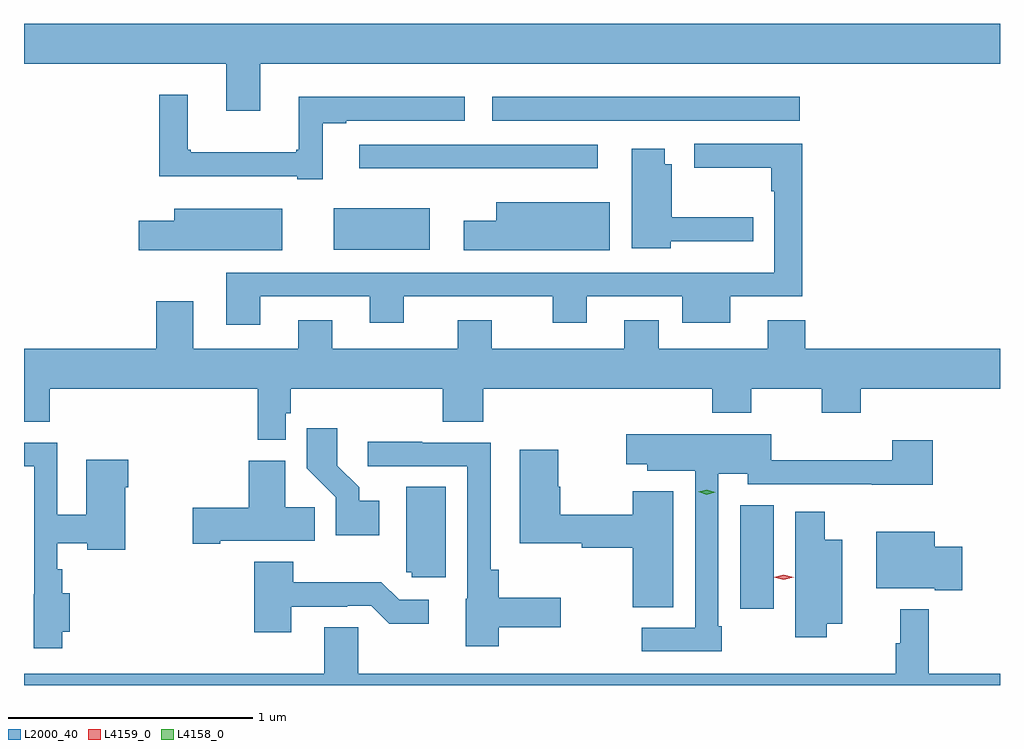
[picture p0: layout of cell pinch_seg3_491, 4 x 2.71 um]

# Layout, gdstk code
import gdstk
lib = gdstk.Library(unit=1e-6, precision=1e-09)
def R(c, l, rs):  # rectangles x0, y0, x1, y1
    for r in rs: c.add(gdstk.rectangle(r[:2], r[2:], *l))
def P(c, l, *ps):  # polygons
    for p in ps: c.add(gdstk.Polygon(p, *l))
L2000_40 = (2000, 40)
L4158_0 = (4158, 0)
L4159_0 = (4159, 0)

pinch_seg3_491 = lib.new_cell('pinch_seg3_491')
R(pinch_seg3_491, L2000_40, [(988.979,666.714,989.116,667.139), (987.314,668.186,987.706,668.356), (987.417,668.519,988.396,668.616), (987.963,668.715,989.224,668.812)])
P(pinch_seg3_491, L2000_40, [(987.013,668.948),(990.044,668.948),(990.044,669.112),(986.044,669.112),(986.044,668.948),(986.873,668.948),(986.873,668.754),(987.013,668.754)],
  [(987.268,668.703),(987.364,668.703),(987.364,668.715),(987.85,668.715),(987.85,668.812),(987.17,668.812),(987.17,668.596),(987.159,668.596),(987.159,668.584),(986.728,668.584),(986.728,668.596),(986.716,668.596),(986.716,668.821),(986.599,668.821),(986.599,668.486),(987.164,668.486),(987.164,668.475),(987.268,668.475)],
  [(987.013,667.995),(987.461,667.995),(987.461,667.886),(987.601,667.886),(987.601,667.995),(988.211,667.995),(988.211,667.886),(988.351,667.886),(988.351,667.995),(988.742,667.995),(988.742,667.886),(988.939,667.886),(988.939,667.995),(989.234,667.995),(989.234,668.619),(988.791,668.619),(988.791,668.522),(989.106,668.522),(989.106,668.426),(989.118,668.426),(989.118,668.091),(986.873,668.091),(986.873,667.878),(987.013,667.878)],
  [(988.695,668.22),(989.033,668.22),(989.033,668.318),(988.699,668.318),(988.699,668.536),(988.669,668.536),(988.669,668.599),(988.535,668.599),(988.535,668.192),(988.695,668.192)],
  [(988.444,668.38),(987.98,668.38),(987.98,668.305),(987.846,668.305),(987.846,668.183),(988.444,668.183)],
  [(987.103,668.353),(986.66,668.353),(986.66,668.305),(986.514,668.305),(986.514,668.183),(987.103,668.183)],
  [(987.117,667.515),(987.137,667.515),(987.137,667.616),(987.761,667.616),(987.761,667.48),(987.926,667.48),(987.926,667.616),(988.865,667.616),(988.865,667.517),(989.025,667.517),(989.025,667.616),(989.314,667.616),(989.314,667.517),(989.474,667.517),(989.474,667.616),(990.044,667.616),(990.044,667.78),(989.246,667.78),(989.246,667.897),(989.093,667.897),(989.093,667.78),(988.645,667.78),(988.645,667.897),(988.505,667.897),(988.505,667.78),(987.961,667.78),(987.961,667.897),(987.821,667.897),(987.821,667.78),(987.307,667.78),(987.307,667.897),(987.167,667.897),(987.167,667.78),(986.737,667.78),(986.737,667.975),(986.585,667.975),(986.585,667.78),(986.044,667.78),(986.044,667.48),(986.15,667.48),(986.15,667.616),(987.001,667.616),(987.001,667.406),(987.117,667.406)],
  [(987.499,667.156),(987.418,667.156),(987.418,667.211),(987.328,667.301),(987.328,667.453),(987.202,667.453),(987.202,667.29),(987.321,667.171),(987.321,667.016),(987.499,667.016)],
  [(988.903,666.643),(988.89,666.643),(988.89,667.268),(989.01,667.268),(989.01,667.224),(989.519,667.224),(989.519,667.223),(989.768,667.223),(989.768,667.405),(989.603,667.405),(989.603,667.322),(989.106,667.322),(989.106,667.429),(988.512,667.429),(988.512,667.307),(988.599,667.307),(988.599,667.28),(988.794,667.28),(988.794,666.636),(988.575,666.636),(988.575,666.54),(988.903,666.54)],
  [(987.99,666.638),(988.243,666.638),(988.243,666.76),(987.99,666.76),(987.99,666.874),(987.957,666.874),(987.957,667.395),(987.677,667.395),(987.677,667.398),(987.453,667.398),(987.453,667.299),(987.861,667.299),(987.861,666.756),(987.854,666.756),(987.854,666.56),(987.99,666.56)],
  [(986.201,666.62),(986.231,666.62),(986.231,666.778),(986.201,666.778),(986.201,666.875),(986.181,666.875),(986.181,666.983),(986.304,666.983),(986.304,666.956),(986.458,666.956),(986.458,667.211),(986.471,667.211),(986.471,667.324),(986.3,667.324),(986.3,667.1),(986.181,667.1),(986.181,667.395),(986.044,667.395),(986.044,667.299),(986.085,667.299),(986.085,666.774),(986.084,666.774),(986.084,666.552),(986.201,666.552)],
  [(988.705,667.195),(988.538,667.195),(988.538,667.1),(988.242,667.1),(988.242,667.215),(988.234,667.215),(988.234,667.366),(988.076,667.366),(988.076,666.982),(988.33,666.982),(988.33,666.964),(988.538,666.964),(988.538,666.721),(988.705,666.721)],
  [(986.848,666.992),(987.236,666.992),(987.236,667.13),(987.115,667.13),(987.115,667.321),(986.966,667.321),(986.966,667.127),(986.736,667.127),(986.736,666.98),(986.848,666.98)],
  [(987.772,667.213),(987.611,667.213),(987.611,666.864),(987.633,666.864),(987.633,666.843),(987.772,666.843)],
  [(989.334,666.653),(989.398,666.653),(989.398,666.997),(989.326,666.997),(989.326,667.111),(989.204,667.111),(989.204,666.597),(989.334,666.597)],
  [(989.89,666.968),(989.776,666.968),(989.776,667.03),(989.537,667.03),(989.537,666.797),(989.777,666.797),(989.777,666.79),(989.89,666.79)],
  [(987.139,666.723),(987.368,666.723),(987.368,666.726),(987.468,666.726),(987.541,666.653),(987.703,666.653),(987.703,666.75),(987.582,666.75),(987.509,666.823),(987.147,666.823),(987.147,666.907),(986.987,666.907),(986.987,666.618),(987.139,666.618)],
  [(989.635,666.712),(989.635,666.572),(989.617,666.572),(989.617,666.448),(987.414,666.448),(987.414,666.638),(987.275,666.638),(987.275,666.448),(986.044,666.448),(986.044,666.4),(990.044,666.4),(990.044,666.448),(989.753,666.448),(989.753,666.712)])
P(pinch_seg3_491, L4158_0, [(988.842,667.182),(988.808,667.193),(988.807,667.193),(988.808,667.193),(988.843,667.202),(988.877,667.191),(988.877,667.191),(988.877,667.191)])
P(pinch_seg3_491, L4159_0, [(989.158,666.833),(989.117,666.843),(989.117,666.843),(989.117,666.844),(989.158,666.853),(989.199,666.843),(989.199,666.843),(989.199,666.843)])

lib.write_gds('pinch_seg3_491.gds')
